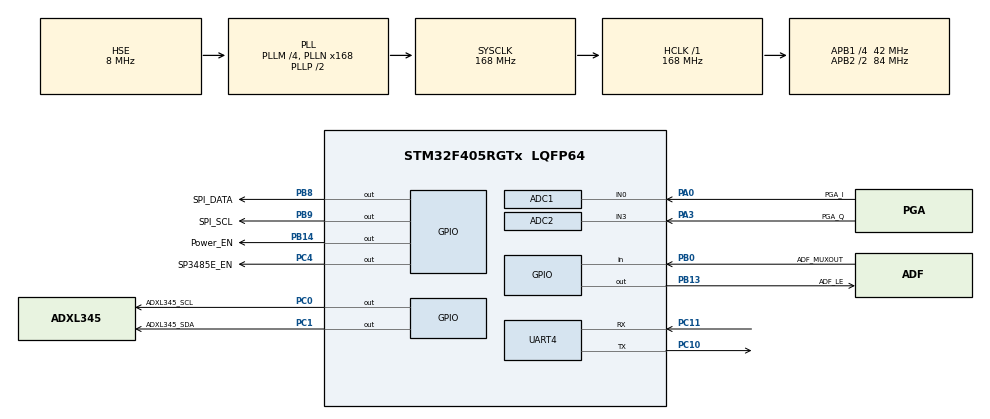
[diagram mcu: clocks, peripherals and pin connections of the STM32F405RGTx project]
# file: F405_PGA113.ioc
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ADC1.Channel-0\#ChannelRegularConversion=ADC_CHANNEL_0
ADC1.ContinuousConvMode=ENABLE
ADC1.DMAAccessMode=ADC_DMAACCESSMODE_2
ADC1.DMAContinuousRequests=ENABLE
ADC1.Mode=ADC_DUALMODE_REGSIMULT
ADC1.NbrOfConversionFlag=1
ADC1.Rank-0\#ChannelRegularConversion=1
ADC1.SamplingTime-0\#ChannelRegularConversion=ADC_SAMPLETIME_84CYCLES
ADC1.master=1
ADC2.Channel-0\#ChannelRegularConversion=ADC_CHANNEL_3
ADC2.DMAAccessMode=ADC_DMAACCESSMODE_2
ADC2.Mode=ADC_DUALMODE_REGSIMULT
ADC2.NbrOfConversionFlag=1
ADC2.Rank-0\#ChannelRegularConversion=1
ADC2.SamplingTime-0\#ChannelRegularConversion=ADC_SAMPLETIME_84CYCLES
Dma.ADC1.0.Direction=DMA_PERIPH_TO_MEMORY
Dma.ADC1.0.FIFOMode=DMA_FIFOMODE_DISABLE
Dma.ADC1.0.Instance=DMA2_Stream0
Dma.ADC1.0.MemDataAlignment=DMA_MDATAALIGN_WORD
Dma.ADC1.0.MemInc=DMA_MINC_ENABLE
Dma.ADC1.0.Mode=DMA_NORMAL
Dma.ADC1.0.PeriphDataAlignment=DMA_PDATAALIGN_WORD
Dma.ADC1.0.PeriphInc=DMA_PINC_DISABLE
Dma.ADC1.0.Priority=DMA_PRIORITY_LOW
Dma.Request0=ADC1
Mcu.Family=STM32F4
Mcu.Name=STM32F405RGTx
Mcu.Package=LQFP64
NVIC.DMA2_Stream0_IRQn=true\:0\:0\:false\:false\:true\:false\:true\:true
NVIC.PriorityGroup=NVIC_PRIORITYGROUP_4
NVIC.TIM2_IRQn=true\:1\:0\:true\:false\:true\:true\:true\:true
NVIC.UART4_IRQn=true\:0\:0\:false\:false\:true\:true\:true\:true
PA0-WKUP.GPIO_Label=PGA_I
PA0-WKUP.Signal=ADCx_IN0
PA13.Mode=Serial_Wire
PA13.Signal=SYS_JTMS-SWDIO
PA14.Mode=Serial_Wire
PA14.Signal=SYS_JTCK-SWCLK
PA3.GPIO_Label=PGA_Q
PA3.Signal=ADCx_IN3
PB0.GPIO_Label=ADF_MUXOUT
PB0.Signal=GPIO_Input
PB13.GPIO_Label=ADF_LE
PB13.GPIO_Speed=GPIO_SPEED_FREQ_VERY_HIGH
PB13.PinState=GPIO_PIN_SET
PB13.Signal=GPIO_Output
PB14.GPIO_Label=Power_EN
PB14.GPIO_Speed=GPIO_SPEED_FREQ_VERY_HIGH
PB14.Signal=GPIO_Output
PB8.GPIO_Label=SPI_DATA
PB8.GPIO_Speed=GPIO_SPEED_FREQ_VERY_HIGH
PB8.Signal=GPIO_Output
PB9.GPIO_Label=SPI_SCL
PB9.GPIO_Speed=GPIO_SPEED_FREQ_VERY_HIGH
PB9.Signal=GPIO_Output
PC0.GPIO_Label=ADXL345_SCL
PC0.GPIO_ModeDefaultOutputPP=GPIO_MODE_OUTPUT_OD
PC0.GPIO_PuPd=GPIO_PULLUP
PC0.GPIO_Speed=GPIO_SPEED_FREQ_VERY_HIGH
PC0.Signal=GPIO_Output
PC1.GPIO_Label=ADXL345_SDA
PC1.GPIO_ModeDefaultOutputPP=GPIO_MODE_OUTPUT_OD
PC1.GPIO_PuPd=GPIO_PULLUP
PC1.GPIO_Speed=GPIO_SPEED_FREQ_VERY_HIGH
PC1.Signal=GPIO_Output
PC10.Mode=Asynchronous
PC10.Signal=UART4_TX
PC11.Mode=Asynchronous
PC11.Signal=UART4_RX
PC4.GPIO_Label=SP3485E_EN
PC4.GPIO_Speed=GPIO_SPEED_FREQ_VERY_HIGH
PC4.Signal=GPIO_Output
PH0-OSC_IN.Mode=HSE-External-Oscillator
PH0-OSC_IN.Signal=RCC_OSC_IN
PH1-OSC_OUT.Mode=HSE-External-Oscillator
PH1-OSC_OUT.Signal=RCC_OSC_OUT
ProjectManager.HeapSize=0x200
ProjectManager.StackSize=0x400
ProjectManager.TargetToolchain=CMake
RCC.48MHZClocksFreq_Value=84000000
RCC.AHBFreq_Value=168000000
RCC.APB1CLKDivider=RCC_HCLK_DIV4
RCC.APB1Freq_Value=42000000
RCC.APB1TimFreq_Value=84000000
RCC.APB2CLKDivider=RCC_HCLK_DIV2
RCC.APB2Freq_Value=84000000
RCC.APB2TimFreq_Value=168000000
RCC.CortexFreq_Value=168000000
RCC.HCLKFreq_Value=168000000
RCC.HSE_VALUE=8000000
RCC.HSI_VALUE=16000000
RCC.LSE_VALUE=32768
RCC.PLLM=4
RCC.PLLN=168
RCC.PLLSourceVirtual=RCC_PLLSOURCE_HSE
RCC.SYSCLKFreq_VALUE=168000000
RCC.SYSCLKSource=RCC_SYSCLKSOURCE_PLLCLK
RCC.VCOOutputFreq_Value=336000000
SH.ADCx_IN0.0=ADC1_IN0,IN0
SH.ADCx_IN3.0=ADC2_IN3,IN3
STMicroelectronics.X-CUBE-ALGOBUILD.1.5.0.LibraryCcDSPOoLibraryJjDSPOoLibrary=true
TIM2.AutoReloadPreload=TIM_AUTORELOAD_PRELOAD_ENABLE
TIM2.Channel-Output\ Compare1\ No\ Output=TIM_CHANNEL_1
TIM2.OC1Preload=ENABLE
TIM2.Period=39
TIM2.Prescaler=83
TIM2.Pulse-Output\ Compare1\ No\ Output=15
TIM2.TIM_MasterOutputTrigger=TIM_TRGO_RESET
TIM2.TIM_MasterSlaveMode=TIM_MASTERSLAVEMODE_DISABLE
UART4.VirtualMode=Asynchronous
VP_STMicroelectronics.X-CUBE-ALGOBUILD_VS_DSPOoLibraryJjLibrary_1.5.0_1.5.0.Mode=DSPOoLibraryJjLibrary
VP_TIM2_VS_ClockSourceINT.Mode=Internal
VP_TIM2_VS_no_output1.Mode=Output Compare1 No Output
board=custom

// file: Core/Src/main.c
/* USER CODE BEGIN Header */
/**
  ******************************************************************************
  * @file           : main.c
  * @brief          : Main program body
  ******************************************************************************
  * @attention
  *
  * Copyright (c) 2026 STMicroelectronics.
  * All rights reserved.
  *
  * This software is licensed under terms that can be found in the LICENSE file
  * in the root directory of this software component.
  * If no LICENSE file comes with this software, it is provided AS-IS.
  *
  ******************************************************************************
  */
/* USER CODE END Header */
#include "main.h"
#include "adc.h"
#include "dma.h"
#include "tim.h"
#include "usart.h"
#include "gpio.h"

/* USER CODE BEGIN Includes */
#include "ADF4153A.h"
#include "ADXL345.h"
#include "SP3485E.h"
#include "Radar_frame.h"
#include "Radar_protocol.h"
#include <math.h>
#include <stdint.h>
#include <stdio.h>
/* USER CODE END Includes */

/* USER CODE BEGIN PD */
#define PERIPH_POWER_ON()   HAL_GPIO_WritePin(Power_EN_GPIO_Port, Power_EN_Pin, GPIO_PIN_SET)
#define PERIPH_POWER_OFF()  HAL_GPIO_WritePin(Power_EN_GPIO_Port, Power_EN_Pin, GPIO_PIN_RESET)
#define RAD_TO_DEG              (57.2957795f)
/* USER CODE END PD */

/* USER CODE BEGIN PV */
volatile uint8_t g_adxl345_ok = 0U;

/* USER CODE END PV */

void SystemClock_Config(void);

int main(void)
{

  /* MCU Configuration--------------------------------------------------------*/

  /* Reset of all peripherals, Initializes the Flash interface and the Systick. */
  HAL_Init();

  /* Configure the system clock */
  SystemClock_Config();

  /* Initialize all configured peripherals */
  MX_GPIO_Init();
  MX_DMA_Init();
  MX_UART4_Init();
  MX_TIM2_Init();
  MX_ADC1_Init();
  MX_ADC2_Init();
  /* USER CODE BEGIN 2 */
  RS485_Init();
  //  RS485_SendStr("$RADAR,BOOT:OK\r\n");

  RadarProtocol_Init(1U); /* 设备ID=1，单设备时固定为1 */
  PERIPH_POWER_ON();
  /* USER CODE END 2 */

  /* Infinite loop */
  /* USER CODE BEGIN WHILE */
  /* ======================================================
     *  ADF4153A（PLL）初始化
     *
     *  起始频率24.000GHz：
     *    RF = 24000MHz / 16 = 1500MHz
     *    N = 1500MHz / 25MHz = 60.0
     *    INT=60, FRAC=0
     *  prescaler=0（4/5模式）：1500MHz < 2GHz，INT=60 ≥ 31 ✓
     * ====================================================== */
    ADF4153A_Config_t pll_cfg = {
        .fastlock_en    = 0,
        .INT            = 60,
        .FRAC           = 0,
        .resync_en      = 0,
        .muxout         = MUXOUT_DLOCK_DIGITAL,
        .prescaler      = RADAR_PRESCALER,   /* 0=4/5，来自radar_config.h */
        .R              = RADAR_R,           /* 1 */
        .MOD            = RADAR_MOD,         /* 125 */
        .resync         = 0,
        .refin_doubler  = RADAR_REFIN_DBL,   /* 0 */
        .cp_current     = 7,
        .pd_polarity    = 1,
        .ldp            = 0,
        .noise_spur     = NOISE_SPUR_LOWEST_NOISE,
    };

    // BGT24MTR11_Config_t bgt_cfg = {
    // .gs               = 0,              /* 正常LNA增益 */
    // .tx_disable       = 0,              /* 允许发射 */
    // .tx_pa_level      = 7,              /* PA最大功率(+11dBm) */
    // .tx_buf_high_pwr  = 1,              /* TX Buffer高功率 */
    // .lo_buf_high_pwr  = 1,              /* LO Buffer高功率 */
    // .dis_div16        = 0,              /* 必须为1，否则ADF失锁 */
    // .dis_div64k       = 1,              /* Q2输出不需要可禁用 */
    // .amux             = BGT_AMUX_VTEMP, /* ANA引脚输出温度信号 */
    // };

    ADF4153A_Init(&pll_cfg);
    if (!ADF4153A_WaitLock(500)) {
        RS485_SendStr("$RADAR,ERR:PLL_LOCK_FAIL\r\n");
        Error_Handler();
        return -1;
    }
    RS485_SendStr("$RADAR,PLL:LOCKED\r\n");
    // BGT24MTR11_Init(&bgt_cfg);

    // /* 预计算chirp查找表（只做一次） */
    // Chirp_Precompute();

    /* ======================================================
     *  主循环：每帧约50ms
     *    阶段1：水位  1次上扫 → Range-FFT → 水面距离（约2ms）
     *    阶段2：水速 16对三角波 → 相位差分 → 水速（约34ms）
     *  帧结束后通过RS-485上报结果
     * ====================================================== */
    // RadarFrame_t frame;

  //   ADXL345_Config_t cfg = {
  //   .data_rate    = ADXL345_RATE_100,   /* 100Hz */
  //   .range        = ADXL345_RANGE_2G,   /* ±2g */
  //   .full_res     = true,               /* 全分辨率模式 */
  //   .low_power    = false,
  //   .offset_x=0, .offset_y=-2, .offset_z=4, /* 手动偏移校准 */
  //   .addr_high    = false,              /* 地址0x53 */
  // };

  // if(ADXL345_Init(&cfg)) {
  //   g_adxl345_ok = 1U;
  //   // RS485_SendStr("ACCEL_INIT_SUCCESS\r\n");
  //   printf("ADXL345 initialized, ID=0x%02X\r\n", ADXL345_GetDeviceID());
  // }

  // ADXL345_AccelData_t accel;
  // (void)accel;

  while (1)
  {
    // Radar_MeasureFrame(&frame);

    // if(ADXL345_ReadAccel(&accel))
    // {
    //   float x_g = ADXL345_RawToG(accel.x, cfg.range, cfg.full_res);
    //   float y_g = ADXL345_RawToG(accel.y, cfg.range, cfg.full_res);
    //   float z_g = ADXL345_RawToG(accel.z, cfg.range, cfg.full_res);
    //   float x_angle_deg = atan2f(x_g, sqrtf(y_g * y_g + z_g * z_g)) * RAD_TO_DEG;
    //   float y_angle_deg = atan2f(y_g, sqrtf(x_g * x_g + z_g * z_g)) * RAD_TO_DEG;
    //   printf("X_raw=%d, Y_raw=%d, Z_raw=%d,X=%.3lf,Y=%.3lf,Z=%.3lf,X_ANGLE=%.2fdeg, Y_ANGLE=%.2fdeg\r\n",
    //          accel.x, accel.y, accel.z, x_g, y_g, z_g, x_angle_deg, y_angle_deg);
    // }

    /* USER CODE END WHILE */

    /* USER CODE BEGIN 3 */
    // RadarFrame_t frame = {
    //     .water_level_valid = 1,
    //     .water_level_m = 1.234f,
    //     .water_velocity_valid = 1,
    //     .water_velocity_mps = 0.567f,
    // };

    // /* 当前先手动补硬件状态位，后续可从硬件状态寄存器读取 */
    // uint16_t extra_status = RADAR_STATUS_PLL_LOCK_OK |
    //                         RADAR_STATUS_ADC_OK;

    /* 只发二进制帧，不等ACK */
    // RadarProtocol_SendData(&frame, extra_status);
    /* 发二进制帧，等待ACK，失败重试 */
    // RadarProtocol_SendDataWaitAck(&frame, extra_status);

    /* 如果想用串口助手看ASCII，可临时改成： */
    // RadarProtocol_SendDebug(&frame);

    // HAL_Delay(1000);
  }
  /* USER CODE END 3 */
}

void SystemClock_Config(void)
{
  RCC_OscInitTypeDef RCC_OscInitStruct = {0};
  RCC_ClkInitTypeDef RCC_ClkInitStruct = {0};

  /** Configure the main internal regulator output voltage
  */
  __HAL_RCC_PWR_CLK_ENABLE();
  __HAL_PWR_VOLTAGESCALING_CONFIG(PWR_REGULATOR_VOLTAGE_SCALE1);

  /** Initializes the RCC Oscillators according to the specified parameters
  * in the RCC_OscInitTypeDef structure.
  */
  RCC_OscInitStruct.OscillatorType = RCC_OSCILLATORTYPE_HSE;
  RCC_OscInitStruct.HSEState = RCC_HSE_ON;
  RCC_OscInitStruct.PLL.PLLState = RCC_PLL_ON;
  RCC_OscInitStruct.PLL.PLLSource = RCC_PLLSOURCE_HSE;
  RCC_OscInitStruct.PLL.PLLM = 4;
  RCC_OscInitStruct.PLL.PLLN = 168;
  RCC_OscInitStruct.PLL.PLLP = RCC_PLLP_DIV2;
  RCC_OscInitStruct.PLL.PLLQ = 4;
  if (HAL_RCC_OscConfig(&RCC_OscInitStruct) != HAL_OK)
  {
    Error_Handler();
  }

  /** Initializes the CPU, AHB and APB buses clocks
  */
  RCC_ClkInitStruct.ClockType = RCC_CLOCKTYPE_HCLK|RCC_CLOCKTYPE_SYSCLK
                              |RCC_CLOCKTYPE_PCLK1|RCC_CLOCKTYPE_PCLK2;
  RCC_ClkInitStruct.SYSCLKSource = RCC_SYSCLKSOURCE_PLLCLK;
  RCC_ClkInitStruct.AHBCLKDivider = RCC_SYSCLK_DIV1;
  RCC_ClkInitStruct.APB1CLKDivider = RCC_HCLK_DIV4;
  RCC_ClkInitStruct.APB2CLKDivider = RCC_HCLK_DIV2;

  if (HAL_RCC_ClockConfig(&RCC_ClkInitStruct, FLASH_LATENCY_5) != HAL_OK)
  {
    Error_Handler();
  }
}

void Error_Handler(void)
{
  __disable_irq();
  while (1)
  {
  }
}
